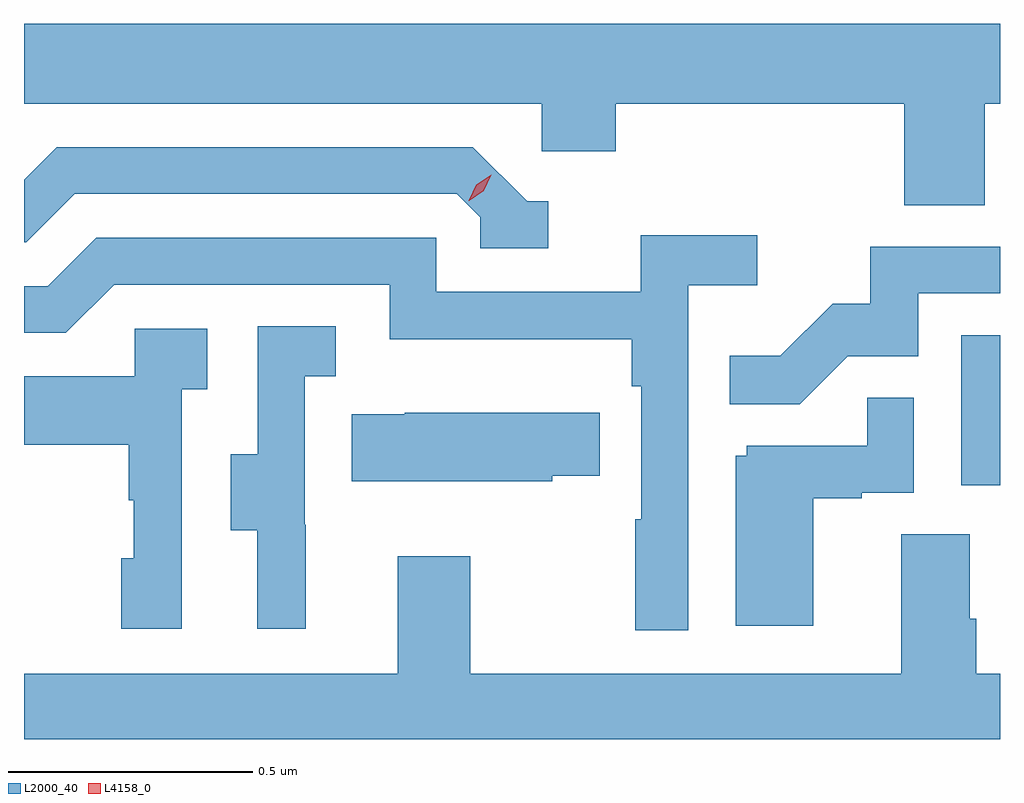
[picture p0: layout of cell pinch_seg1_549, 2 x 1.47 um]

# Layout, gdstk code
import gdstk
lib = gdstk.Library(unit=1e-6, precision=1e-09)
def R(c, l, rs):  # rectangles x0, y0, x1, y1
    for r in rs: c.add(gdstk.rectangle(r[:2], r[2:], *l))
def P(c, l, *ps):  # polygons
    for p in ps: c.add(gdstk.Polygon(p, *l))
L2000_40 = (2000, 40)
L4158_0 = (4158, 0)

pinch_seg1_549 = lib.new_cell('pinch_seg1_549')
R(pinch_seg1_549, L2000_40, [(1060.244,534.966,1060.323,535.273)])
P(pinch_seg1_549, L2000_40, [(1060.292,535.748),(1060.323,535.748),(1060.323,535.912),(1058.323,535.912),(1058.323,535.748),(1059.384,535.748),(1059.384,535.65),(1059.536,535.65),(1059.536,535.748),(1060.127,535.748),(1060.127,535.54),(1060.292,535.54)],
  [(1059.397,535.548),(1059.354,535.548),(1059.243,535.659),(1058.39,535.659),(1058.323,535.592),(1058.323,535.464),(1058.328,535.464),(1058.427,535.563),(1059.21,535.563),(1059.258,535.515),(1059.258,535.452),(1059.397,535.452)],
  [(1059.684,535.376),(1059.826,535.376),(1059.826,535.478),(1059.587,535.478),(1059.587,535.362),(1059.168,535.362),(1059.168,535.473),(1058.471,535.473),(1058.372,535.374),(1058.323,535.374),(1058.323,535.278),(1058.409,535.278),(1058.508,535.377),(1059.072,535.377),(1059.072,535.265),(1059.568,535.265),(1059.568,535.169),(1059.588,535.169),(1059.588,534.896),(1059.576,534.896),(1059.576,534.669),(1059.684,534.669)],
  [(1060.011,535.23),(1060.155,535.23),(1060.155,535.359),(1060.323,535.359),(1060.323,535.455),(1060.057,535.455),(1060.057,535.338),(1059.98,535.338),(1059.873,535.231),(1059.769,535.231),(1059.769,535.132),(1059.913,535.132)],
  [(1058.9,534.885),(1058.898,534.885),(1058.898,535.189),(1058.962,535.189),(1058.962,535.292),(1058.802,535.292),(1058.802,535.029),(1058.747,535.029),(1058.747,534.874),(1058.801,534.874),(1058.801,534.672),(1058.9,534.672)],
  [(1058.646,535.163),(1058.698,535.163),(1058.698,535.287),(1058.55,535.287),(1058.55,535.189),(1058.323,535.189),(1058.323,535.049),(1058.538,535.049),(1058.538,534.935),(1058.548,534.935),(1058.548,534.816),(1058.522,534.816),(1058.522,534.672),(1058.646,534.672)],
  [(1059.94,534.939),(1060.04,534.939),(1060.04,534.951),(1060.146,534.951),(1060.146,535.145),(1060.051,535.145),(1060.051,535.047),(1059.804,535.047),(1059.804,535.026),(1059.782,535.026),(1059.782,534.678),(1059.94,534.678)],
  [(1059.405,534.985),(1059.503,534.985),(1059.503,535.114),(1059.103,535.114),(1059.103,535.111),(1058.995,535.111),(1058.995,534.974),(1059.405,534.974)],
  [(1060.323,534.58),(1060.274,534.58),(1060.274,534.692),(1060.261,534.692),(1060.261,534.866),(1060.121,534.866),(1060.121,534.58),(1059.237,534.58),(1059.237,534.82),(1059.089,534.82),(1059.089,534.58),(1058.323,534.58),(1058.323,534.445),(1060.323,534.445)])
P(pinch_seg1_549, L4158_0, [(1059.234,535.549),(1059.234,535.549),(1059.25,535.582),(1059.28,535.602),(1059.28,535.602),(1059.28,535.602),(1059.265,535.569),(1059.235,535.549)])

lib.write_gds('pinch_seg1_549.gds')
